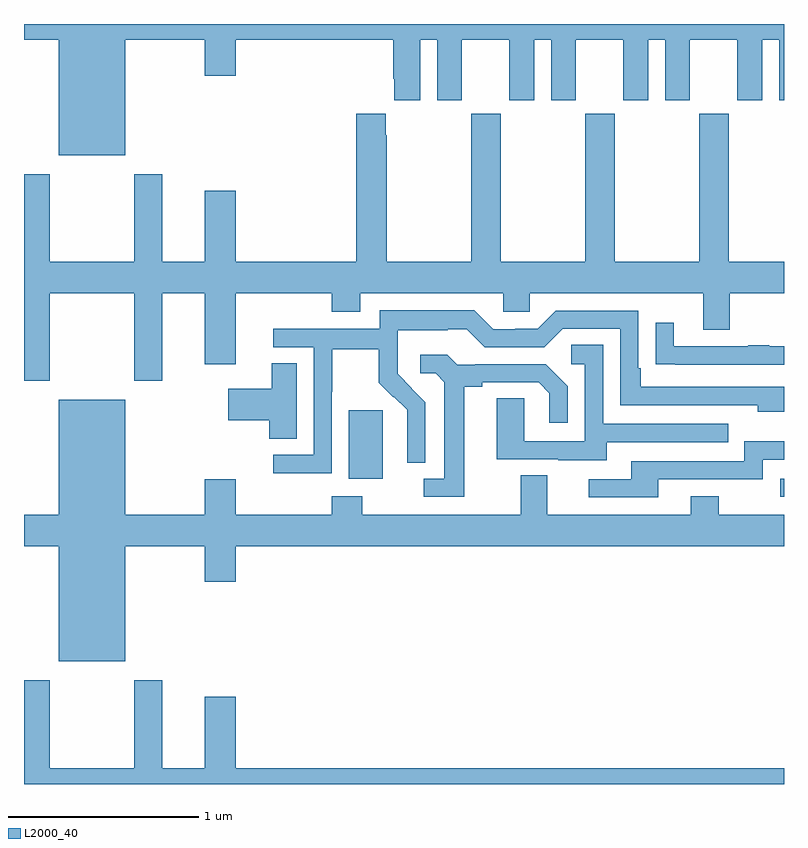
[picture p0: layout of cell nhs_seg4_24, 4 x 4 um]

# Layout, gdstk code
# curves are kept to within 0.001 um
import gdstk
lib = gdstk.Library(unit=1e-6, precision=1e-09)
def R(c, l, rs):  # rectangles x0, y0, x1, y1
    for r in rs: c.add(gdstk.rectangle(r[:2], r[2:], *l))
def P(c, l, *ps):  # polygons
    for p in ps: c.add(gdstk.Polygon(p, *l))
L2000_40 = (2000, 40)

nhs_seg4_24 = lib.new_cell('nhs_seg4_24')
R(nhs_seg4_24, L2000_40, [(114.981,798.411,115,798.507), (112.709,798.506,112.888,798.867)])
P(nhs_seg4_24, L2000_40, [(111.532,800.816),(111.95,800.816),(111.95,800.628),(112.114,800.628),(112.114,800.816),(112.943,800.816),(112.943,800.611),(112.949,800.611),(112.949,800.499),(113.086,800.499),(113.086,800.816),(113.174,800.816),(113.174,800.499),(113.305,800.499),(113.305,800.816),(113.555,800.816),(113.555,800.499),(113.686,800.499),(113.686,800.816),(113.774,800.816),(113.774,800.499),(113.905,800.499),(113.905,800.816),(114.155,800.816),(114.155,800.499),(114.286,800.499),(114.286,800.816),(114.374,800.816),(114.374,800.499),(114.505,800.499),(114.505,800.816),(114.755,800.816),(114.755,800.499),(114.886,800.499),(114.886,800.816),(114.974,800.816),(114.974,800.499),(115,800.499),(115,800.9),(111,800.9),(111,800.816),(111.182,800.816),(111.182,800.21),(111.532,800.21)],
  [(111.135,799.484),(111.58,799.484),(111.58,799.023),(111.727,799.023),(111.727,799.484),(111.95,799.484),(111.95,799.11),(112.114,799.11),(112.114,799.484),(112.619,799.484),(112.619,799.385),(112.771,799.385),(112.771,799.484),(113.523,799.484),(113.523,799.386),(113.661,799.386),(113.661,799.484),(114.575,799.484),(114.575,799.29),(114.715,799.29),(114.715,799.484),(115,799.484),(115,799.648),(114.708,799.648),(114.708,800.428),(114.553,800.428),(114.553,799.648),(114.108,799.648),(114.108,800.428),(113.953,800.428),(113.953,799.648),(113.508,799.648),(113.508,800.428),(113.353,800.428),(113.353,799.648),(112.908,799.648),(112.908,800.315),(112.903,800.315),(112.903,800.428),(112.748,800.428),(112.748,799.648),(112.114,799.648),(112.114,800.023),(111.95,800.023),(111.95,799.648),(111.727,799.648),(111.727,800.11),(111.58,800.11),(111.58,799.648),(111.135,799.648),(111.135,800.11),(111,800.11),(111,799.023),(111.135,799.023)],
  [(112.62,798.964),(112.623,798.964),(112.623,799.188),(112.867,799.188),(112.867,799.013),(112.944,798.936),(112.947,798.939),(113.018,798.869),(113.018,798.746),(113.016,798.746),(113.016,798.592),(113.112,798.592),(113.112,798.91),(112.966,799.058),(112.966,799.155),(112.968,799.155),(112.968,799.289),(113.231,799.289),(113.231,799.293),(113.331,799.293),(113.424,799.2),(113.739,799.2),(113.835,799.296),(114.138,799.296),(114.138,798.894),(114.863,798.894),(114.863,798.86),(115,798.86),(115,798.99),(114.247,798.99),(114.247,799.087),(114.234,799.087),(114.234,799.392),(113.799,799.392),(113.703,799.296),(113.585,799.296),(113.585,799.293),(113.469,799.293),(113.369,799.393),(112.872,799.393),(112.872,799.296),(112.311,799.296),(112.311,799.2),(112.524,799.2),(112.524,798.633),(112.311,798.633),(112.311,798.535),(112.62,798.535)],
  [(115,799.203),(114.923,799.203),(114.923,799.208),(114.811,799.208),(114.811,799.203),(114.421,799.203),(114.421,799.327),(114.325,799.327),(114.325,799.108),(114.427,799.108),(114.427,799.107),(115,799.107)],
  [(114.067,798.699),(114.707,798.699),(114.707,798.795),(114.048,798.795),(114.048,799.211),(113.88,799.211),(113.88,799.11),(113.952,799.11),(113.952,798.705),(113.634,798.705),(113.634,798.929),(113.489,798.929),(113.489,798.609),(113.813,798.609),(113.813,798.605),(114.067,798.605)],
  [(113.317,798.992),(113.413,798.992),(113.413,799.014),(113.708,799.014),(113.765,798.957),(113.765,798.801),(113.862,798.801),(113.862,798.994),(113.746,799.11),(113.374,799.11),(113.374,799.107),(113.28,799.107),(113.228,799.159),(113.085,799.159),(113.085,799.062),(113.166,799.062),(113.213,799.015),(113.213,798.507),(113.103,798.507),(113.103,798.411),(113.317,798.411)],
  [(112.435,799.115),(112.304,799.115),(112.304,798.979),(112.074,798.979),(112.074,798.814),(112.292,798.814),(112.292,798.718),(112.435,798.718)],
  [(111.532,798.152),(111.95,798.152),(111.95,797.964),(112.114,797.964),(112.114,798.152),(115,798.152),(115,798.316),(114.657,798.316),(114.657,798.415),(114.509,798.415),(114.509,798.316),(113.755,798.316),(113.755,798.524),(113.615,798.524),(113.615,798.316),(112.779,798.316),(112.779,798.415),(112.619,798.415),(112.619,798.316),(112.114,798.316),(112.114,798.505),(111.95,798.505),(111.95,798.316),(111.532,798.316),(111.532,798.922),(111.182,798.922),(111.182,798.316),(111,798.316),(111,798.152),(111.182,798.152),(111.182,797.546),(111.532,797.546)],
  [(114.337,798.504),(114.888,798.504),(114.888,798.606),(115,798.606),(115,798.703),(114.792,798.703),(114.792,798.6),(114.197,798.6),(114.197,798.504),(113.973,798.504),(113.973,798.408),(114.337,798.408)],
  [(115,796.984),(112.114,796.984),(112.114,797.359),(111.95,797.359),(111.95,796.984),(111.727,796.984),(111.727,797.446),(111.58,797.446),(111.58,796.984),(111.135,796.984),(111.135,797.446),(111,797.446),(111,796.9),(115,796.9)])

lib.write_gds('nhs_seg4_24.gds')
